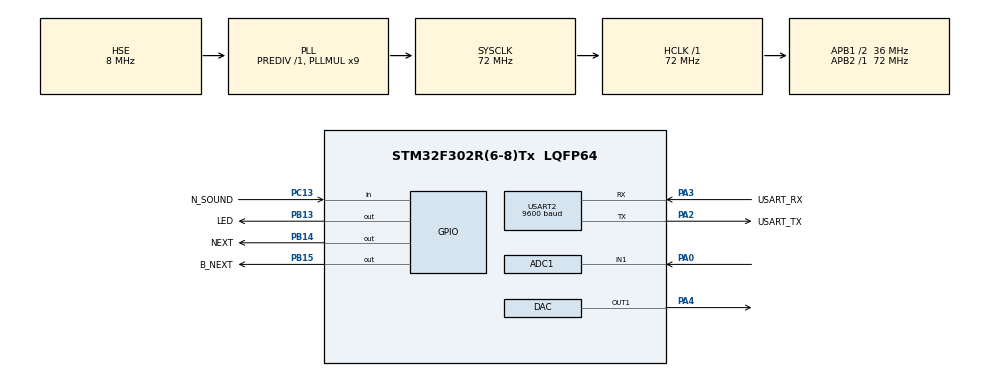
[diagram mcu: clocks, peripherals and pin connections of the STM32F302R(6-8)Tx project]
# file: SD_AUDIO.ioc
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ADC1.Channel-0\#ChannelRegularConversion=ADC_CHANNEL_1
ADC1.ContinuousConvMode=ENABLE
ADC1.DMAContinuousRequests=ENABLE
ADC1.NbrOfConversionFlag=1
ADC1.Offset-0\#ChannelRegularConversion=0
ADC1.OffsetNumber-0\#ChannelRegularConversion=ADC_OFFSET_NONE
ADC1.Rank-0\#ChannelRegularConversion=1
ADC1.SamplingTime-0\#ChannelRegularConversion=ADC_SAMPLETIME_601CYCLES_5
ADC1.SamplingTimeOPAMP-0\#ChannelRegularConversion=ADC_SAMPLETIME_61CYCLES_5
ADC1.SubFamily=STM32F302x8
ADC1.master=1
DAC.DAC_Trigger=DAC_TRIGGER_T2_TRGO
Dma.ADC1.0.Direction=DMA_PERIPH_TO_MEMORY
Dma.ADC1.0.Instance=DMA1_Channel1
Dma.ADC1.0.MemDataAlignment=DMA_MDATAALIGN_WORD
Dma.ADC1.0.MemInc=DMA_MINC_ENABLE
Dma.ADC1.0.Mode=DMA_CIRCULAR
Dma.ADC1.0.PeriphDataAlignment=DMA_PDATAALIGN_WORD
Dma.ADC1.0.PeriphInc=DMA_PINC_DISABLE
Dma.ADC1.0.Priority=DMA_PRIORITY_LOW
Dma.DAC_CH1.1.Direction=DMA_MEMORY_TO_PERIPH
Dma.DAC_CH1.1.Instance=DMA1_Channel3
Dma.DAC_CH1.1.MemDataAlignment=DMA_MDATAALIGN_WORD
Dma.DAC_CH1.1.MemInc=DMA_MINC_ENABLE
Dma.DAC_CH1.1.Mode=DMA_CIRCULAR
Dma.DAC_CH1.1.PeriphDataAlignment=DMA_PDATAALIGN_WORD
Dma.DAC_CH1.1.PeriphInc=DMA_PINC_DISABLE
Dma.DAC_CH1.1.Priority=DMA_PRIORITY_LOW
Dma.Request0=ADC1
Dma.Request1=DAC_CH1
Mcu.Family=STM32F3
Mcu.Name=STM32F302R(6-8)Tx
Mcu.Package=LQFP64
NVIC.DMA1_Channel1_IRQn=true\:0\:0\:false\:false\:true\:false\:true\:true
NVIC.DMA1_Channel3_IRQn=true\:0\:0\:false\:false\:true\:false\:true\:true
NVIC.PriorityGroup=NVIC_PRIORITYGROUP_0
PA0.Mode=IN1-Single-Ended
PA0.Signal=ADC1_IN1
PA13.GPIO_Label=TMS
PA13.Mode=Serial_Wire
PA13.Signal=SYS_JTMS-SWDIO
PA14.GPIO_Label=TCK
PA14.Mode=Serial_Wire
PA14.Signal=SYS_JTCK-SWCLK
PA2.GPIO_Label=USART_TX
PA2.GPIO_Mode=GPIO_MODE_AF_PP
PA2.GPIO_PuPd=GPIO_NOPULL
PA2.GPIO_Speed=GPIO_SPEED_FREQ_LOW
PA2.Mode=Asynchronous
PA2.Signal=USART2_TX
PA3.GPIO_Label=USART_RX
PA3.GPIO_Mode=GPIO_MODE_AF_PP
PA3.GPIO_PuPd=GPIO_NOPULL
PA3.GPIO_Speed=GPIO_SPEED_FREQ_LOW
PA3.Mode=Asynchronous
PA3.Signal=USART2_RX
PA4.Signal=COMP_DAC1_group
PB13.GPIO_Label=LED
PB13.Signal=GPIO_Output
PB14.GPIO_Label=NEXT
PB14.GPIO_PuPd=GPIO_PULLDOWN
PB14.Signal=GPIO_Output
PB15.GPIO_Label=B_NEXT
PB15.GPIO_PuPd=GPIO_PULLDOWN
PB15.Signal=GPIO_Output
PB3.GPIO_Label=SWO
PB3.Mode=Trace_Asynchronous_SW
PB3.Signal=SYS_JTDO-TRACESWO
PC13.GPIO_Label=N_SOUND
PC13.Signal=GPIO_Input
PC14\ -\ OSC32_IN.Signal=RCC_OSC32_IN
PC15\ -\ OSC32_OUT.Signal=RCC_OSC32_OUT
PF0-OSC_IN.Mode=HSE-External-Oscillator
PF0-OSC_IN.Signal=RCC_OSC_IN
PF1-OSC_OUT.Mode=HSE-External-Oscillator
PF1-OSC_OUT.Signal=RCC_OSC_OUT
ProjectManager.HeapSize=0x200
ProjectManager.StackSize=0x400
ProjectManager.TargetToolchain=STM32CubeIDE
RCC.AHBFreq_Value=72000000
RCC.APB1CLKDivider=RCC_HCLK_DIV2
RCC.APB1Freq_Value=36000000
RCC.APB1TimFreq_Value=72000000
RCC.APB2Freq_Value=72000000
RCC.APB2TimFreq_Value=72000000
RCC.CortexFreq_Value=72000000
RCC.HCLKFreq_Value=72000000
RCC.HSE_VALUE=8000000
RCC.HSI_VALUE=8000000
RCC.PLLM=8
RCC.PLLMUL=RCC_PLL_MUL9
RCC.PLLN=336
RCC.PLLP=RCC_PLLP_DIV4
RCC.PLLQ=7
RCC.PLLSourceVirtual=RCC_PLLSOURCE_HSE
RCC.SYSCLKFreq_VALUE=72000000
RCC.SYSCLKSourceVirtual=RCC_SYSCLKSOURCE_PLLCLK
RCC.USBFreq_Value=72000000
SH.COMP_DAC1_group.0=DAC_OUT1,DAC_OUT1
TIM2.Period=100-1
TIM2.Prescaler=72-1
TIM2.TIM_MasterOutputTrigger=TIM_TRGO_UPDATE
USART2.BaudRate=9600
USART2.VirtualMode-Asynchronous=VM_ASYNC
VP_TIM2_VS_ClockSourceINT.Mode=Internal
board=NUCLEO-F302R8

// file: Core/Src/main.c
/* USER CODE BEGIN Header */
/**
 ******************************************************************************
 * @file           : main.c
 * @brief          : Main program body
 ******************************************************************************
 * @attention
 *
 * Copyright (c) 2023 STMicroelectronics.
 * All rights reserved.
 *
 * This software is licensed under terms that can be found in the LICENSE file
 * in the root directory of this software component.
 * If no LICENSE file comes with this software, it is provided AS-IS.
 *
 ******************************************************************************
 */
/* USER CODE END Header */
#include "main.h"

/* USER CODE BEGIN Includes */
#include "stdio.h"
#include "string.h"
/* USER CODE END Includes */

/* USER CODE BEGIN PD */
#define BUFFER_SIZE 1
/* USER CODE END PD */

ADC_HandleTypeDef hadc1;
DMA_HandleTypeDef hdma_adc1;

DAC_HandleTypeDef hdac;
DMA_HandleTypeDef hdma_dac_ch1;

TIM_HandleTypeDef htim2;

UART_HandleTypeDef huart2;

/* USER CODE BEGIN PV */
uint32_t input_sound = 0;
int N_SOUND = 0;
/* USER CODE END PV */

void SystemClock_Config(void);
static void MX_GPIO_Init(void);
static void MX_DMA_Init(void);
static void MX_USART2_UART_Init(void);
static void MX_ADC1_Init(void);
static void MX_DAC_Init(void);
static void MX_TIM2_Init(void);

/* USER CODE BEGIN 0 */
void next_sound() {

	HAL_GPIO_WritePin(NEXT_GPIO_Port, NEXT_Pin, 1);

	HAL_Delay(1);

	HAL_GPIO_WritePin(NEXT_GPIO_Port, NEXT_Pin, 0);

}

void back_sound() {

	HAL_GPIO_WritePin(B_NEXT_GPIO_Port, B_NEXT_Pin, 1);

	HAL_Delay(1);

	HAL_GPIO_WritePin(B_NEXT_GPIO_Port, B_NEXT_Pin, 0);

}
/* USER CODE END 0 */

int main(void) {
	/* USER CODE BEGIN 1 */
	int count = 0;
	char rxbuffer[BUFFER_SIZE];
	char mss[20] = "EXAM_2";
	char mss_2[20] = "ON";
	char mss_3[20] = "OFF";
	char mss_4[20] = "SOUND_OFF";
	char mss_5[20] = "SOUND_ON";
	/* USER CODE END 1 */

	/* MCU Configuration--------------------------------------------------------*/

	/* Reset of all peripherals, Initializes the Flash interface and the Systick. */
	HAL_Init();

	/* Configure the system clock */
	SystemClock_Config();

	/* Initialize all configured peripherals */
	MX_GPIO_Init();
	MX_DMA_Init();
	MX_USART2_UART_Init();
	MX_ADC1_Init();
	MX_DAC_Init();
	MX_TIM2_Init();
	/* USER CODE BEGIN 2 */

	HAL_ADC_Start_DMA(&hadc1, &input_sound, 1);
	HAL_DAC_Start_DMA(&hdac, DAC_CHANNEL_1, &input_sound, 1, DAC_ALIGN_12B_R);
	HAL_TIM_Base_Start(&htim2);
	HAL_UART_Transmit(&huart2, (uint8_t*)mss, strlen(mss), 100);

	/* USER CODE END 2 */

	/* Infinite loop */
	/* USER CODE BEGIN WHILE */
	while (1) {

		if (HAL_UART_Receive(&huart2, (uint8_t*) rxbuffer, 1, 100) == HAL_OK) {

			if (rxbuffer[0] = '1') {
				HAL_UART_Transmit(&huart2, (uint8_t*) mss_2, strlen(mss_2), 100);
				next_sound();
				HAL_GPIO_WritePin(LED_GPIO_Port, LED_Pin, 1);
				HAL_GPIO_TogglePin(LED_GPIO_Port, LED_Pin);
			}

			if (rxbuffer[0] = '2') {
				HAL_UART_Transmit(&huart2, (uint8_t*) mss_3, strlen(mss_3), 100);
				back_sound();
				HAL_GPIO_WritePin(LED_GPIO_Port, LED_Pin, 0);
				HAL_GPIO_TogglePin(LED_GPIO_Port, LED_Pin);
			}

		}

		if (HAL_GPIO_ReadPin(N_SOUND_GPIO_Port, N_SOUND_Pin)) {

			count++;
			HAL_Delay(600);

		} if (count == 1) {

			HAL_UART_Transmit(&huart2, (uint8_t*) mss_4, strlen(mss_4), 100);
			HAL_DAC_Stop(&hdac, DAC_CHANNEL_1);
			HAL_ADC_Stop(&hadc1);

		} if (count == 2) {

			HAL_UART_Transmit(&huart2, (uint8_t*) mss_5, strlen(mss_5), 100);
			HAL_DAC_Start(&hdac, DAC_CHANNEL_1);
			HAL_ADC_Start(&hadc1);

		} if (count == 3) {

			count = 1;

		}

		/* USER CODE END WHILE */

	}
}

void SystemClock_Config(void) {
	RCC_OscInitTypeDef RCC_OscInitStruct = { 0 };
	RCC_ClkInitTypeDef RCC_ClkInitStruct = { 0 };
	RCC_PeriphCLKInitTypeDef PeriphClkInit = { 0 };

	/** Initializes the RCC Oscillators according to the specified parameters
	 * in the RCC_OscInitTypeDef structure.
	 */
	RCC_OscInitStruct.OscillatorType = RCC_OSCILLATORTYPE_HSE;
	RCC_OscInitStruct.HSEState = RCC_HSE_ON;
	RCC_OscInitStruct.HSEPredivValue = RCC_HSE_PREDIV_DIV1;
	RCC_OscInitStruct.HSIState = RCC_HSI_ON;
	RCC_OscInitStruct.PLL.PLLState = RCC_PLL_ON;
	RCC_OscInitStruct.PLL.PLLSource = RCC_PLLSOURCE_HSE;
	RCC_OscInitStruct.PLL.PLLMUL = RCC_PLL_MUL9;
	if (HAL_RCC_OscConfig(&RCC_OscInitStruct) != HAL_OK) {
		Error_Handler();
	}

	/** Initializes the CPU, AHB and APB buses clocks
	 */
	RCC_ClkInitStruct.ClockType = RCC_CLOCKTYPE_HCLK | RCC_CLOCKTYPE_SYSCLK
			| RCC_CLOCKTYPE_PCLK1 | RCC_CLOCKTYPE_PCLK2;
	RCC_ClkInitStruct.SYSCLKSource = RCC_SYSCLKSOURCE_PLLCLK;
	RCC_ClkInitStruct.AHBCLKDivider = RCC_SYSCLK_DIV1;
	RCC_ClkInitStruct.APB1CLKDivider = RCC_HCLK_DIV2;
	RCC_ClkInitStruct.APB2CLKDivider = RCC_HCLK_DIV1;

	if (HAL_RCC_ClockConfig(&RCC_ClkInitStruct, FLASH_LATENCY_2) != HAL_OK) {
		Error_Handler();
	}
	PeriphClkInit.PeriphClockSelection = RCC_PERIPHCLK_ADC1;
	PeriphClkInit.Adc1ClockSelection = RCC_ADC1PLLCLK_DIV1;

	if (HAL_RCCEx_PeriphCLKConfig(&PeriphClkInit) != HAL_OK) {
		Error_Handler();
	}
}

static void MX_ADC1_Init(void) {

	ADC_ChannelConfTypeDef sConfig = { 0 };

	/** Common config
	 */
	hadc1.Instance = ADC1;
	hadc1.Init.ClockPrescaler = ADC_CLOCK_ASYNC_DIV1;
	hadc1.Init.Resolution = ADC_RESOLUTION_12B;
	hadc1.Init.ScanConvMode = ADC_SCAN_DISABLE;
	hadc1.Init.ContinuousConvMode = ENABLE;
	hadc1.Init.DiscontinuousConvMode = DISABLE;
	hadc1.Init.ExternalTrigConvEdge = ADC_EXTERNALTRIGCONVEDGE_NONE;
	hadc1.Init.ExternalTrigConv = ADC_SOFTWARE_START;
	hadc1.Init.DataAlign = ADC_DATAALIGN_RIGHT;
	hadc1.Init.NbrOfConversion = 1;
	hadc1.Init.DMAContinuousRequests = ENABLE;
	hadc1.Init.EOCSelection = ADC_EOC_SINGLE_CONV;
	hadc1.Init.LowPowerAutoWait = DISABLE;
	hadc1.Init.Overrun = ADC_OVR_DATA_OVERWRITTEN;
	if (HAL_ADC_Init(&hadc1) != HAL_OK) {
		Error_Handler();
	}

	/** Configure Regular Channel
	 */
	sConfig.Channel = ADC_CHANNEL_1;
	sConfig.Rank = ADC_REGULAR_RANK_1;
	sConfig.SingleDiff = ADC_SINGLE_ENDED;
	sConfig.SamplingTime = ADC_SAMPLETIME_601CYCLES_5;
	sConfig.OffsetNumber = ADC_OFFSET_NONE;
	sConfig.Offset = 0;
	if (HAL_ADC_ConfigChannel(&hadc1, &sConfig) != HAL_OK) {
		Error_Handler();
	}

}

static void MX_DAC_Init(void) {

	DAC_ChannelConfTypeDef sConfig = { 0 };

	/** DAC Initialization
	 */
	hdac.Instance = DAC;
	if (HAL_DAC_Init(&hdac) != HAL_OK) {
		Error_Handler();
	}

	/** DAC channel OUT1 config
	 */
	sConfig.DAC_Trigger = DAC_TRIGGER_T2_TRGO;
	sConfig.DAC_OutputBuffer = DAC_OUTPUTBUFFER_ENABLE;
	if (HAL_DAC_ConfigChannel(&hdac, &sConfig, DAC_CHANNEL_1) != HAL_OK) {
		Error_Handler();
	}

}

static void MX_TIM2_Init(void) {

	TIM_ClockConfigTypeDef sClockSourceConfig = { 0 };
	TIM_MasterConfigTypeDef sMasterConfig = { 0 };

	htim2.Instance = TIM2;
	htim2.Init.Prescaler = 72 - 1;
	htim2.Init.CounterMode = TIM_COUNTERMODE_UP;
	htim2.Init.Period = 100 - 1;
	htim2.Init.ClockDivision = TIM_CLOCKDIVISION_DIV1;
	htim2.Init.AutoReloadPreload = TIM_AUTORELOAD_PRELOAD_DISABLE;
	if (HAL_TIM_Base_Init(&htim2) != HAL_OK) {
		Error_Handler();
	}
	sClockSourceConfig.ClockSource = TIM_CLOCKSOURCE_INTERNAL;
	if (HAL_TIM_ConfigClockSource(&htim2, &sClockSourceConfig) != HAL_OK) {
		Error_Handler();
	}
	sMasterConfig.MasterOutputTrigger = TIM_TRGO_UPDATE;
	sMasterConfig.MasterSlaveMode = TIM_MASTERSLAVEMODE_DISABLE;
	if (HAL_TIMEx_MasterConfigSynchronization(&htim2, &sMasterConfig)
			!= HAL_OK) {
		Error_Handler();
	}

}

static void MX_USART2_UART_Init(void) {

	huart2.Instance = USART2;
	huart2.Init.BaudRate = 9600;
	huart2.Init.WordLength = UART_WORDLENGTH_8B;
	huart2.Init.StopBits = UART_STOPBITS_1;
	huart2.Init.Parity = UART_PARITY_NONE;
	huart2.Init.Mode = UART_MODE_TX_RX;
	huart2.Init.HwFlowCtl = UART_HWCONTROL_NONE;
	huart2.Init.OverSampling = UART_OVERSAMPLING_16;
	huart2.Init.OneBitSampling = UART_ONE_BIT_SAMPLE_DISABLE;
	huart2.AdvancedInit.AdvFeatureInit = UART_ADVFEATURE_NO_INIT;
	if (HAL_UART_Init(&huart2) != HAL_OK) {
		Error_Handler();
	}

}

static void MX_DMA_Init(void) {

	/* DMA controller clock enable */
	__HAL_RCC_DMA1_CLK_ENABLE();

	/* DMA interrupt init */
	/* DMA1_Channel1_IRQn interrupt configuration */
	HAL_NVIC_SetPriority(DMA1_Channel1_IRQn, 0, 0);
	HAL_NVIC_EnableIRQ(DMA1_Channel1_IRQn);
	/* DMA1_Channel3_IRQn interrupt configuration */
	HAL_NVIC_SetPriority(DMA1_Channel3_IRQn, 0, 0);
	HAL_NVIC_EnableIRQ(DMA1_Channel3_IRQn);

}

static void MX_GPIO_Init(void) {
	GPIO_InitTypeDef GPIO_InitStruct = { 0 };

	/* GPIO Ports Clock Enable */
	__HAL_RCC_GPIOC_CLK_ENABLE();
	__HAL_RCC_GPIOF_CLK_ENABLE();
	__HAL_RCC_GPIOA_CLK_ENABLE();
	__HAL_RCC_GPIOB_CLK_ENABLE();

	/*Configure GPIO pin Output Level */
	HAL_GPIO_WritePin(GPIOB, LED_Pin | NEXT_Pin | B_NEXT_Pin, GPIO_PIN_RESET);

	/*Configure GPIO pin : N_SOUND_Pin */
	GPIO_InitStruct.Pin = N_SOUND_Pin;
	GPIO_InitStruct.Mode = GPIO_MODE_INPUT;
	GPIO_InitStruct.Pull = GPIO_NOPULL;
	HAL_GPIO_Init(N_SOUND_GPIO_Port, &GPIO_InitStruct);

	/*Configure GPIO pin : LED_Pin */
	GPIO_InitStruct.Pin = LED_Pin;
	GPIO_InitStruct.Mode = GPIO_MODE_OUTPUT_PP;
	GPIO_InitStruct.Pull = GPIO_NOPULL;
	GPIO_InitStruct.Speed = GPIO_SPEED_FREQ_LOW;
	HAL_GPIO_Init(LED_GPIO_Port, &GPIO_InitStruct);

	/*Configure GPIO pins : NEXT_Pin B_NEXT_Pin */
	GPIO_InitStruct.Pin = NEXT_Pin | B_NEXT_Pin;
	GPIO_InitStruct.Mode = GPIO_MODE_OUTPUT_PP;
	GPIO_InitStruct.Pull = GPIO_PULLDOWN;
	GPIO_InitStruct.Speed = GPIO_SPEED_FREQ_LOW;
	HAL_GPIO_Init(GPIOB, &GPIO_InitStruct);

}

void Error_Handler(void) {
	__disable_irq();
	while (1) {
	}
}
